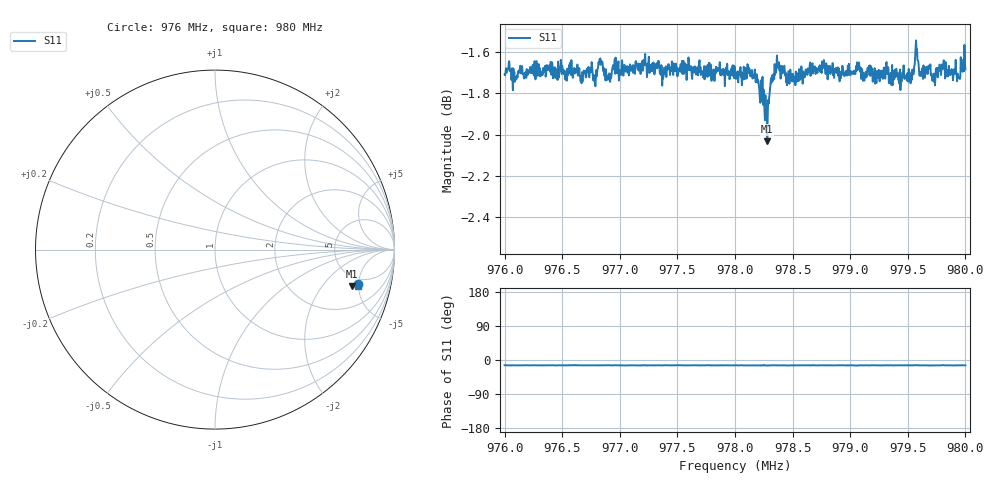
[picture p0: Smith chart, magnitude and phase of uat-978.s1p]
! Calibrated averaged scanner-service zoom
# Hz S RI R 50
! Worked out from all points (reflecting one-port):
!   1001 points, 976 MHz to 980 MHz, reference 50 ohm
!   lowest |S11| = -2.0 dB at 978.28 MHz (marker M1), VSWR 8.58, Z = 194 - j210 ohm
!   phase of S11 starts at -14 deg and turns -1 deg over the sweep
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9.76e8  0.7985 -0.1932
9.7604e8  0.8021 -0.2039
9.765e8  0.8019 -0.1959
9.76612e8  0.8006 -0.1954
9.76736e8  0.795 -0.2016
9.76784e8  0.7937 -0.1989
9.76832e8  0.8047 -0.199
9.76896e8  0.7953 -0.1964
9.77e8  0.7996 -0.1971
9.775e8  0.7979 -0.1918
9.77848e8  0.7996 -0.2
9.78e8  0.7973 -0.2008
9.78176e8  0.7958 -0.2006
9.7828e8  0.765 -0.2024
9.78324e8  0.7967 -0.1988
9.78364e8  0.8058 -0.2001
9.785e8  0.797 -0.2001
9.79e8  0.7963 -0.2005
9.7906e8  0.8014 -0.2046
9.79212e8  0.7999 -0.1995
9.795e8  0.7971 -0.198
9.7954e8  0.7989 -0.2008
9.79576e8  0.808 -0.1995
9.79612e8  0.7954 -0.2043
9.7972e8  0.7943 -0.2007
9.79808e8  0.8022 -0.1935
9.79888e8  0.7969 -0.205
9.8e8  0.7987 -0.202
